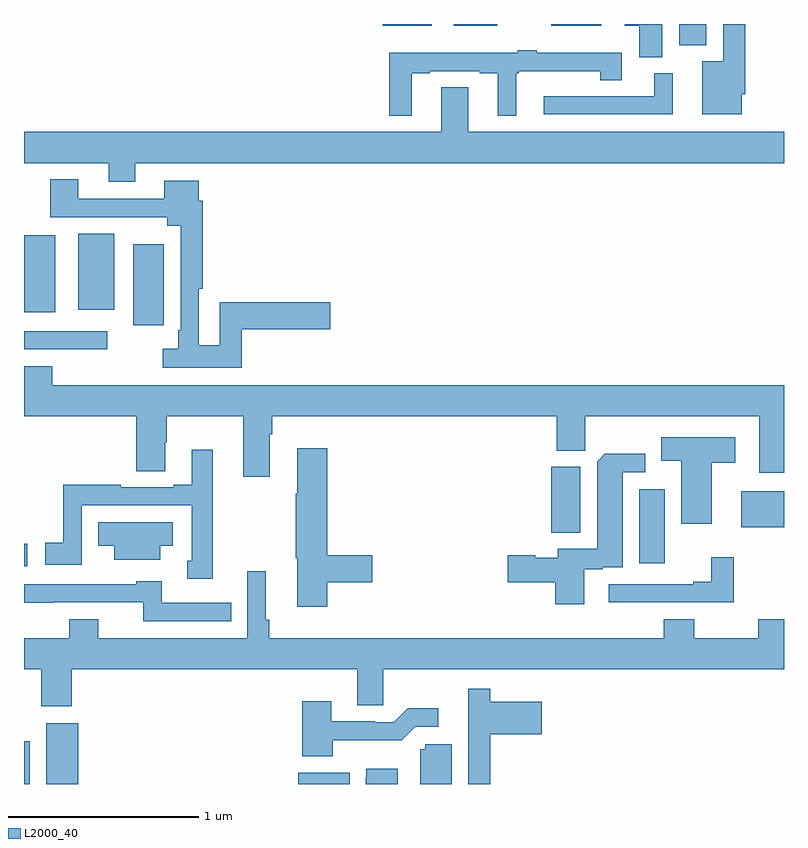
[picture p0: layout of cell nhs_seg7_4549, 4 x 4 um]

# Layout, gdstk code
import gdstk
lib = gdstk.Library(unit=1e-6, precision=1e-09)
def R(c, l, rs):  # rectangles x0, y0, x1, y1
    for r in rs: c.add(gdstk.rectangle(r[:2], r[2:], *l))
def P(c, l, *ps):  # polygons
    for p in ps: c.add(gdstk.Polygon(p, *l))
L2000_40 = (2000, 40)

nhs_seg7_4549 = lib.new_cell('nhs_seg7_4549')
R(nhs_seg7_4549, L2000_40, [(397,1012,397.03,1012.225), (397.118,1012,397.286,1012.321), (398.444,1012,398.714,1012.06), (397,1013.145,397.018,1013.265), (400.238,1013.162,400.372,1013.551), (399.776,1013.323,399.928,1013.67), (400.775,1013.351,401,1013.542), (397,1014.288,397.438,1014.384), (397.574,1014.414,397.735,1014.841), (397,1014.482,397.165,1014.889), (397.286,1014.497,397.474,1014.895), (400.448,1015.889,400.591,1016), (398.888,1015.991,399.145,1016), (399.263,1015.991,399.49,1016), (399.776,1015.991,400.039,1016)])
P(nhs_seg7_4549, L2000_40, [(400.777,1015.63),(400.796,1015.63),(400.796,1016),(400.68,1016),(400.68,1015.804),(400.571,1015.804),(400.571,1015.526),(400.777,1015.526)],
  [(400.36,1016),(400.163,1016),(400.163,1015.991),(400.238,1015.991),(400.238,1015.825),(400.36,1015.825)],
  [(399.04,1015.74),(399.136,1015.74),(399.136,1015.752),(399.398,1015.752),(399.398,1015.74),(399.494,1015.74),(399.494,1015.517),(399.592,1015.517),(399.592,1015.74),(399.604,1015.74),(399.604,1015.751),(400.034,1015.751),(400.034,1015.705),(400.147,1015.705),(400.147,1015.849),(399.698,1015.849),(399.698,1015.861),(399.598,1015.861),(399.598,1015.849),(398.923,1015.849),(398.923,1015.517),(399.04,1015.517)],
  [(400.414,1015.74),(400.316,1015.74),(400.316,1015.62),(399.735,1015.62),(399.735,1015.524),(400.414,1015.524)],
  [(397.585,1015.268),(401,1015.268),(401,1015.432),(399.337,1015.432),(399.337,1015.667),(399.197,1015.667),(399.197,1015.432),(397,1015.432),(397,1015.268),(397.445,1015.268),(397.445,1015.169),(397.585,1015.169)],
  [(398.147,1014.394),(398.611,1014.394),(398.611,1014.536),(398.031,1014.536),(398.031,1014.308),(397.92,1014.308),(397.92,1014.607),(397.94,1014.607),(397.94,1015.07),(397.921,1015.07),(397.921,1015.174),(397.739,1015.174),(397.739,1015.08),(397.285,1015.08),(397.285,1015.183),(397.138,1015.183),(397.138,1014.984),(397.754,1014.984),(397.754,1014.938),(397.824,1014.938),(397.824,1014.388),(397.812,1014.388),(397.812,1014.292),(397.731,1014.292),(397.731,1014.192),(398.147,1014.192)],
  [(398.293,1013.84),(398.306,1013.84),(398.306,1013.936),(399.803,1013.936),(399.803,1013.755),(399.953,1013.755),(399.953,1013.936),(400.871,1013.936),(400.871,1013.637),(401,1013.637),(401,1014.1),(397.148,1014.1),(397.148,1014.199),(397,1014.199),(397,1013.936),(397.592,1013.936),(397.592,1013.647),(397.744,1013.647),(397.744,1013.798),(397.752,1013.798),(397.752,1013.936),(398.153,1013.936),(398.153,1013.616),(398.293,1013.616)],
  [(400.621,1013.69),(400.744,1013.69),(400.744,1013.824),(400.354,1013.824),(400.354,1013.702),(400.46,1013.702),(400.46,1013.37),(400.621,1013.37)],
  [(398.597,1013.062),(398.833,1013.062),(398.833,1013.204),(398.597,1013.204),(398.597,1013.767),(398.438,1013.767),(398.438,1013.528),(398.431,1013.528),(398.431,1013.187),(398.438,1013.187),(398.438,1012.932),(398.597,1012.932)],
  [(397.993,1013.758),(397.883,1013.758),(397.883,1013.575),(397.787,1013.575),(397.787,1013.562),(397.508,1013.562),(397.508,1013.575),(397.207,1013.575),(397.207,1013.27),(397.113,1013.27),(397.113,1013.154),(397.305,1013.154),(397.305,1013.466),(397.884,1013.466),(397.884,1013.175),(397.859,1013.175),(397.859,1013.081),(397.993,1013.081)],
  [(399.949,1013.13),(400.046,1013.13),(400.046,1013.142),(400.15,1013.142),(400.15,1013.64),(400.269,1013.64),(400.269,1013.738),(400.057,1013.738),(400.016,1013.696),(400.016,1013.238),(399.809,1013.238),(399.809,1013.191),(399.692,1013.191),(399.692,1013.204),(399.546,1013.204),(399.546,1013.062),(399.797,1013.062),(399.797,1012.947),(399.949,1012.947)],
  [(397.717,1013.255),(397.783,1013.255),(397.783,1013.377),(397.39,1013.377),(397.39,1013.255),(397.475,1013.255),(397.475,1013.18),(397.717,1013.18)],
  [(400.736,1013.194),(400.618,1013.194),(400.618,1013.065),(400.523,1013.065),(400.523,1013.052),(400.077,1013.052),(400.077,1012.956),(400.736,1012.956)],
  [(397.25,1012.604),(398.753,1012.604),(398.753,1012.414),(398.892,1012.414),(398.892,1012.604),(401,1012.604),(401,1012.867),(400.864,1012.867),(400.864,1012.768),(400.527,1012.768),(400.527,1012.867),(400.367,1012.867),(400.367,1012.768),(398.291,1012.768),(398.291,1012.864),(398.272,1012.864),(398.272,1013.119),(398.175,1013.119),(398.175,1012.768),(397.39,1012.768),(397.39,1012.867),(397.238,1012.867),(397.238,1012.768),(397,1012.768),(397,1012.604),(397.09,1012.604),(397.09,1012.41),(397.25,1012.41)],
  [(398.09,1012.953),(397.726,1012.953),(397.726,1013.068),(397.59,1013.068),(397.59,1013.052),(397,1013.052),(397,1012.955),(397.154,1012.955),(397.154,1012.956),(397.627,1012.956),(397.627,1012.857),(398.09,1012.857)],
  [(399.455,1012.262),(399.724,1012.262),(399.724,1012.432),(399.455,1012.432),(399.455,1012.501),(399.338,1012.501),(399.338,1012.278),(399.339,1012.278),(399.339,1012),(399.455,1012)],
  [(398.625,1012.23),(398.987,1012.23),(399.06,1012.302),(399.181,1012.302),(399.181,1012.399),(399.019,1012.399),(398.946,1012.326),(398.846,1012.326),(398.846,1012.329),(398.617,1012.329),(398.617,1012.435),(398.465,1012.435),(398.465,1012.145),(398.625,1012.145)],
  [(399.25,1012.209),(399.111,1012.209),(399.111,1012.182),(399.086,1012.182),(399.086,1012),(399.25,1012)],
  [(398.968,1012.081),(398.801,1012.081),(398.801,1012.032),(398.799,1012.032),(398.799,1012),(398.968,1012)])

lib.write_gds('nhs_seg7_4549.gds')
